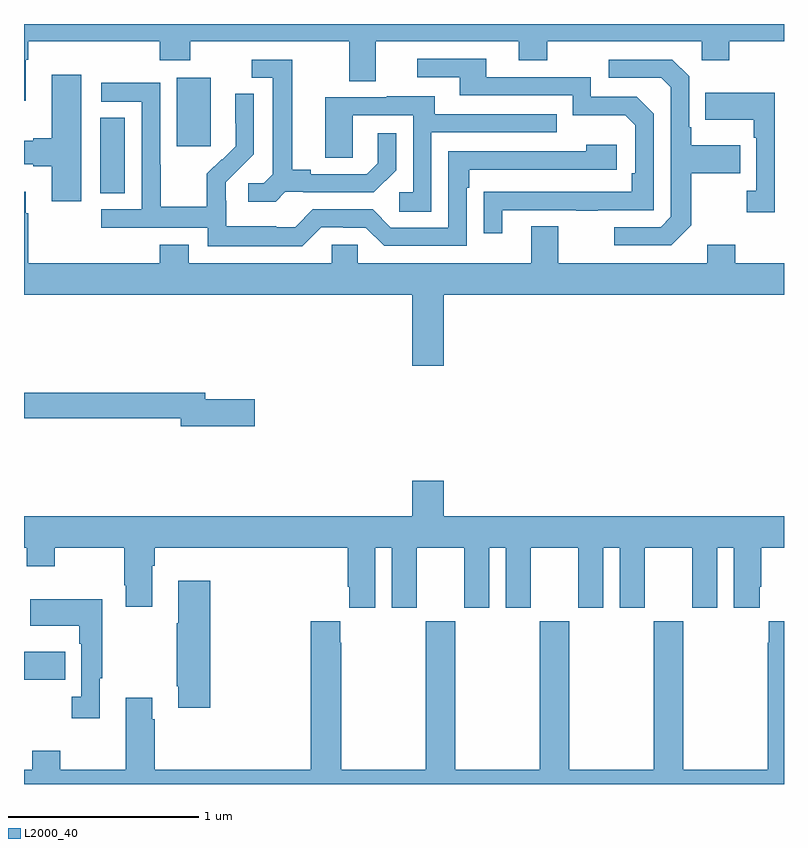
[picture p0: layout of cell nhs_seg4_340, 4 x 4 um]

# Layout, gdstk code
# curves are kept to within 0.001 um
import gdstk
lib = gdstk.Library(unit=1e-6, precision=1e-09)
def R(c, l, rs):  # rectangles x0, y0, x1, y1
    for r in rs: c.add(gdstk.rectangle(r[:2], r[2:], *l))
def P(c, l, *ps):  # polygons
    for p in ps: c.add(gdstk.Polygon(p, *l))
L2000_40 = (2000, 40)

nhs_seg4_340 = lib.new_cell('nhs_seg4_340')
R(nhs_seg4_340, L2000_40, [(127,805.45,127.217,805.597), (127.4,808.009,127.531,808.406), (127.805,808.257,127.984,808.618)])
P(nhs_seg4_340, L2000_40, [(127.009,808.712),(127.022,808.712),(127.022,808.808),(127.715,808.808),(127.715,808.709),(127.875,808.709),(127.875,808.808),(128.711,808.808),(128.711,808.6),(128.851,808.6),(128.851,808.808),(129.605,808.808),(129.605,808.709),(129.753,808.709),(129.753,808.808),(130.566,808.808),(130.566,808.709),(130.713,808.709),(130.713,808.808),(131,808.808),(131,808.9),(127,808.9),(127,808.497),(127.009,808.497)],
  [(129.517,807.921),(129.907,807.921),(129.907,807.916),(130.019,807.916),(130.019,807.921),(130.314,807.921),(130.314,808.428),(130.224,808.518),(129.984,808.518),(129.984,808.62),(129.433,808.62),(129.433,808.716),(129.069,808.716),(129.069,808.62),(129.293,808.62),(129.293,808.524),(129.888,808.524),(129.888,808.421),(130.165,808.421),(130.218,808.368),(130.218,808.114),(130.198,808.114),(130.198,808.017),(129.421,808.016),(129.421,807.798),(129.517,807.798)],
  [(130.513,807.841),(130.513,808.114),(130.769,808.114),(130.769,808.261),(130.513,808.261),(130.513,808.357),(130.5,808.357),(130.5,808.626),(130.413,808.713),(130.077,808.713),(130.077,808.617),(130.353,808.617),(130.404,808.566),(130.404,807.885),(130.35,807.831),(130.107,807.831),(130.107,807.735),(130.407,807.735)],
  [(128.376,808.017),(128.47,808.017),(128.47,808.014),(128.842,808.014),(128.958,808.13),(128.958,808.324),(128.861,808.324),(128.861,808.167),(128.804,808.11),(128.509,808.11),(128.509,808.133),(128.413,808.133),(128.413,808.713),(128.199,808.713),(128.199,808.617),(128.309,808.617),(128.309,808.109),(128.262,808.062),(128.181,808.062),(128.181,807.965),(128.324,807.965)],
  [(127.3,808.633),(127.145,808.633),(127.145,808.298),(127.049,808.298),(127.049,808.285),(127,808.285),(127,808.163),(127.049,808.163),(127.049,808.151),(127.145,808.151),(127.145,807.966),(127.3,807.966)],
  [(128.565,807.831),(128.681,807.831),(128.681,807.828),(128.799,807.828),(128.895,807.732),(129.33,807.732),(129.33,808.037),(129.343,808.037),(129.343,808.134),(130.12,808.134),(130.12,808.264),(129.959,808.264),(129.959,808.23),(129.234,808.23),(129.234,807.828),(128.931,807.828),(128.835,807.924),(128.52,807.924),(128.427,807.831),(128.327,807.831),(128.327,807.835),(128.064,807.835),(128.064,807.969),(128.062,807.969),(128.062,808.066),(128.208,808.214),(128.208,808.532),(128.112,808.532),(128.112,808.378),(128.114,808.378),(128.114,808.256),(128.043,808.185),(128.04,808.188),(127.963,808.111),(127.963,807.937),(127.719,807.937),(127.719,808.16),(127.716,808.16),(127.716,808.59),(127.407,808.59),(127.407,808.491),(127.62,808.491),(127.62,807.924),(127.407,807.924),(127.407,807.828),(127.968,807.828),(127.968,807.731),(128.465,807.731)],
  [(130.952,808.537),(130.585,808.537),(130.585,808.397),(130.842,808.397),(130.842,808.301),(130.854,808.301),(130.854,808.022),(130.803,808.022),(130.803,807.909),(130.952,807.909)],
  [(129.144,808.329),(129.803,808.329),(129.803,808.425),(129.163,808.425),(129.163,808.519),(128.909,808.519),(128.909,808.515),(128.585,808.515),(128.585,808.195),(128.73,808.195),(128.73,808.419),(129.048,808.419),(129.048,808.014),(128.976,808.014),(128.976,807.913),(129.144,807.913)],
  [(129.208,807.476),(131,807.476),(131,807.64),(130.743,807.64),(130.743,807.739),(130.595,807.739),(130.595,807.64),(129.811,807.64),(129.811,807.835),(129.671,807.835),(129.671,807.64),(128.757,807.64),(128.757,807.738),(128.619,807.738),(128.619,807.64),(127.867,807.64),(127.867,807.739),(127.715,807.739),(127.715,807.64),(127.022,807.64),(127.022,807.905),(127.009,807.905),(127.009,808.018),(127,808.018),(127,807.476),(129.044,807.476),(129.044,807.102),(129.208,807.102)],
  [(128.215,806.924),(127.954,806.924),(127.954,806.96),(127,806.96),(127,806.824),(127.826,806.824),(127.826,806.782),(128.215,806.782)],
  [(128.848,806.144),(128.936,806.144),(128.936,805.827),(129.067,805.827),(129.067,806.144),(129.317,806.144),(129.317,805.827),(129.448,805.827),(129.448,806.144),(129.536,806.144),(129.536,805.827),(129.667,805.827),(129.667,806.144),(129.917,806.144),(129.917,805.827),(130.048,805.827),(130.048,806.144),(130.136,806.144),(130.136,805.827),(130.267,805.827),(130.267,806.144),(130.517,806.144),(130.517,805.827),(130.648,805.827),(130.648,806.144),(130.736,806.144),(130.736,805.827),(130.873,805.827),(130.873,805.939),(130.88,805.939),(130.88,806.144),(131,806.144),(131,806.308),(129.208,806.308),(129.208,806.497),(129.044,806.497),(129.044,806.308),(127,806.308),(127,806.144),(127.014,806.144),(127.014,806.045),(127.161,806.045),(127.161,806.144),(127.528,806.144),(127.528,805.945),(127.535,805.945),(127.535,805.833),(127.675,805.833),(127.675,806.048),(127.688,806.048),(127.688,806.144),(128.705,806.144),(128.705,805.939),(128.711,805.939),(128.711,805.827),(128.848,805.827)],
  [(127.979,805.969),(127.811,805.969),(127.811,805.745),(127.804,805.745),(127.804,805.414),(127.811,805.414),(127.811,805.302),(127.979,805.302)],
  [(127.399,805.457),(127.411,805.457),(127.411,805.873),(127.033,805.873),(127.033,805.733),(127.29,805.733),(127.29,805.637),(127.302,805.637),(127.302,805.358),(127.251,805.358),(127.251,805.245),(127.399,805.245)],
  [(131,805.756),(130.919,805.756),(130.919,805.643),(130.915,805.643),(130.915,804.976),(130.47,804.976),(130.47,805.756),(130.315,805.756),(130.315,804.976),(129.87,804.976),(129.87,805.756),(129.715,805.756),(129.715,804.976),(129.27,804.976),(129.27,805.756),(129.114,805.756),(129.114,804.976),(128.67,804.976),(128.67,805.643),(128.665,805.643),(128.665,805.756),(128.51,805.756),(128.51,804.976),(127.688,804.976),(127.688,805.241),(127.675,805.241),(127.675,805.354),(127.535,805.354),(127.535,804.976),(127.191,804.976),(127.191,805.075),(127.043,805.075),(127.043,804.976),(127,804.976),(127,804.9),(131,804.9)])

lib.write_gds('nhs_seg4_340.gds')
